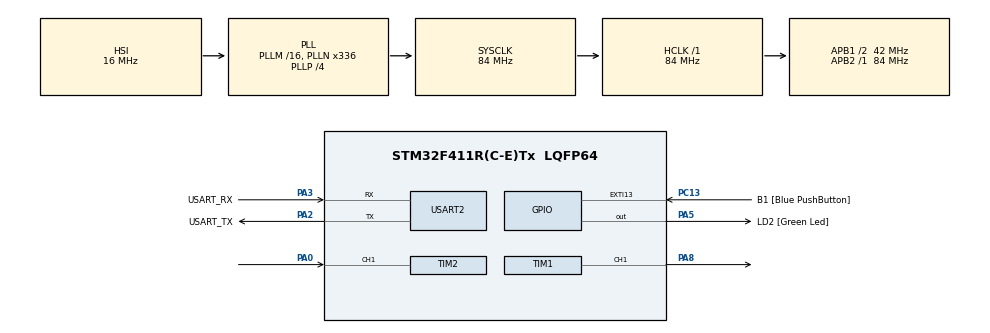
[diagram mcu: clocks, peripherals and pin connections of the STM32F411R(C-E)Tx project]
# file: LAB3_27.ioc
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Dma.Request0=TIM2_CH1
Dma.TIM2_CH1.0.Direction=DMA_PERIPH_TO_MEMORY
Dma.TIM2_CH1.0.FIFOMode=DMA_FIFOMODE_DISABLE
Dma.TIM2_CH1.0.Instance=DMA1_Stream5
Dma.TIM2_CH1.0.MemDataAlignment=DMA_MDATAALIGN_WORD
Dma.TIM2_CH1.0.MemInc=DMA_MINC_ENABLE
Dma.TIM2_CH1.0.Mode=DMA_CIRCULAR
Dma.TIM2_CH1.0.PeriphDataAlignment=DMA_PDATAALIGN_WORD
Dma.TIM2_CH1.0.PeriphInc=DMA_PINC_DISABLE
Dma.TIM2_CH1.0.Priority=DMA_PRIORITY_LOW
Mcu.Family=STM32F4
Mcu.Name=STM32F411R(C-E)Tx
Mcu.Package=LQFP64
NVIC.DMA1_Stream5_IRQn=true\:0\:0\:false\:false\:true\:false\:true\:true
NVIC.PriorityGroup=NVIC_PRIORITYGROUP_0
PA0-WKUP.Signal=S_TIM2_CH1_ETR
PA13.GPIO_Label=TMS
PA13.Mode=Serial_Wire
PA13.Signal=SYS_JTMS-SWDIO
PA14.GPIO_Label=TCK
PA14.Mode=Serial_Wire
PA14.Signal=SYS_JTCK-SWCLK
PA2.GPIO_Label=USART_TX
PA2.Mode=Asynchronous
PA2.Signal=USART2_TX
PA3.GPIO_Label=USART_RX
PA3.Mode=Asynchronous
PA3.Signal=USART2_RX
PA5.GPIO_Label=LD2 [Green Led]
PA5.Signal=GPIO_Output
PA8.Signal=S_TIM1_CH1
PB3.GPIO_Label=SWO
PB3.Signal=SYS_JTDO-SWO
PC13-ANTI_TAMP.GPIO_Label=B1 [Blue PushButton]
PC13-ANTI_TAMP.GPIO_ModeDefaultEXTI=GPIO_MODE_IT_FALLING
PC13-ANTI_TAMP.Signal=GPXTI13
PC14-OSC32_IN.Mode=LSE-External-Oscillator
PC14-OSC32_IN.Signal=RCC_OSC32_IN
PC15-OSC32_OUT.Mode=LSE-External-Oscillator
PC15-OSC32_OUT.Signal=RCC_OSC32_OUT
PH0\ -\ OSC_IN.Mode=HSE-External-Clock-Source
PH0\ -\ OSC_IN.Signal=RCC_OSC_IN
PH1\ -\ OSC_OUT.Mode=HSE-External-Clock-Source
PH1\ -\ OSC_OUT.Signal=RCC_OSC_OUT
ProjectManager.HeapSize=0x200
ProjectManager.StackSize=0x400
ProjectManager.TargetToolchain=STM32CubeIDE
RCC.48MHZClocksFreq_Value=84000000
RCC.AHBFreq_Value=84000000
RCC.APB1CLKDivider=RCC_HCLK_DIV2
RCC.APB1Freq_Value=42000000
RCC.APB1TimFreq_Value=84000000
RCC.APB2Freq_Value=84000000
RCC.APB2TimFreq_Value=84000000
RCC.CortexFreq_Value=84000000
RCC.FLatency-AdvancedSettings=FLASH_LATENCY_2
RCC.HCLKFreq_Value=84000000
RCC.HSE_VALUE=8000000
RCC.HSI_VALUE=16000000
RCC.PLLN=336
RCC.PLLP=RCC_PLLP_DIV4
RCC.SYSCLKFreq_VALUE=84000000
RCC.SYSCLKSource=RCC_SYSCLKSOURCE_PLLCLK
RCC.VCOOutputFreq_Value=336000000
SH.S_TIM1_CH1.0=TIM1_CH1,PWM Generation1 CH1
SH.S_TIM2_CH1_ETR.0=TIM2_CH1,Input_Capture1_from_TI1
TIM1.Channel-PWM\ Generation1\ CH1=TIM_CHANNEL_1
TIM1.Period=99
TIM1.Prescaler=83
TIM1.Pulse-PWM\ Generation1\ CH1=50
TIM2.Channel-Input_Capture1_from_TI1=TIM_CHANNEL_1
TIM2.Prescaler=83
USART2.VirtualMode=VM_ASYNC
VP_TIM1_VS_ClockSourceINT.Mode=Internal
VP_TIM2_VS_ClockSourceINT.Mode=Internal
board=NUCLEO-F411RE

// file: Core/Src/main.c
/* USER CODE BEGIN Header */
/**
  ******************************************************************************
  * @file           : main.c
  * @brief          : Main program body
  ******************************************************************************
  * @attention
  *
  * Copyright (c) 2023 STMicroelectronics.
  * All rights reserved.
  *
  * This software is licensed under terms that can be found in the LICENSE file
  * in the root directory of this software component.
  * If no LICENSE file comes with this software, it is provided AS-IS.
  *
  ******************************************************************************
  */
/* USER CODE END Header */
#include "main.h"

/* USER CODE BEGIN Includes */
#define IC_BUFFER_SIZE 20
/* USER CODE END Includes */

TIM_HandleTypeDef htim1;
TIM_HandleTypeDef htim2;
DMA_HandleTypeDef hdma_tim2_ch1;

UART_HandleTypeDef huart2;

/* USER CODE BEGIN PV */
uint32_t MotorReadRaw[IC_BUFFER_SIZE];
uint32_t MotorReadRPM;
uint32_t MotorSetDuty = 50;
uint32_t MotorSetRPM = 0;
uint32_t MotorControlEnable = 0;
uint32_t MotorReadAverage;
uint32_t RPMtoDUTY = 0;
uint32_t MaxRPM = 16;
/* USER CODE END PV */

void SystemClock_Config(void);
static void MX_GPIO_Init(void);
static void MX_DMA_Init(void);
static void MX_USART2_UART_Init(void);
static void MX_TIM1_Init(void);
static void MX_TIM2_Init(void);
/* USER CODE BEGIN PFP */
float IC_Calc_Period();
/* USER CODE END PFP */

int main(void)
{

  /* MCU Configuration--------------------------------------------------------*/

  /* Reset of all peripherals, Initializes the Flash interface and the Systick. */
  HAL_Init();

  /* Configure the system clock */
  SystemClock_Config();

  /* Initialize all configured peripherals */
  MX_GPIO_Init();
  MX_DMA_Init();
  MX_USART2_UART_Init();
  MX_TIM1_Init();
  MX_TIM2_Init();
  /* USER CODE BEGIN 2 */
  HAL_TIM_Base_Start(&htim2);
  HAL_TIM_IC_Start_DMA(&htim2, TIM_CHANNEL_1, MotorReadRaw, IC_BUFFER_SIZE);

  HAL_TIM_Base_Start(&htim1);
  HAL_TIM_PWM_Start(&htim1, TIM_CHANNEL_1);
  /* USER CODE END 2 */

  /* Infinite loop */
  while (1)
  {

    /* USER CODE BEGIN 3 */
	  static uint32_t timestamp = 0;
	  	  if (HAL_GetTick() >= timestamp)
	  	  {
	  		  timestamp = HAL_GetTick()+500;
	  		  //read RPM
			  MotorReadAverage = IC_Calc_Period();
			  MotorReadRPM = 5/((0.000064)*MotorReadAverage);
	  		  if (MotorControlEnable == 0) //change duty cycle
	  		  {
	  			  if (MotorSetDuty > 100)
	  			  {
	  				  MotorSetDuty = 100;
	  			  }
	  			  __HAL_TIM_SET_COMPARE(&htim1,TIM_CHANNEL_1,MotorSetDuty);
	  		  }
	  		  if (MotorControlEnable == 1) //change RPM
	  		  {
	  			  RPMtoDUTY = MotorSetRPM*(100/MaxRPM);
	  			  if (RPMtoDUTY > 100)
	  			  {
	  				  RPMtoDUTY = 100;
	  			  }
	  			  if (MotorSetRPM > 4)
	  			  {
	  				  RPMtoDUTY -= 10;
	  			  }
	  			  __HAL_TIM_SET_COMPARE(&htim1,TIM_CHANNEL_1,RPMtoDUTY);
	  		  }
	  	  }
  }
  /* USER CODE END 3 */
}

void SystemClock_Config(void)
{
  RCC_OscInitTypeDef RCC_OscInitStruct = {0};
  RCC_ClkInitTypeDef RCC_ClkInitStruct = {0};

  /** Configure the main internal regulator output voltage
  */
  __HAL_RCC_PWR_CLK_ENABLE();
  __HAL_PWR_VOLTAGESCALING_CONFIG(PWR_REGULATOR_VOLTAGE_SCALE1);

  /** Initializes the RCC Oscillators according to the specified parameters
  * in the RCC_OscInitTypeDef structure.
  */
  RCC_OscInitStruct.OscillatorType = RCC_OSCILLATORTYPE_HSI;
  RCC_OscInitStruct.HSIState = RCC_HSI_ON;
  RCC_OscInitStruct.HSICalibrationValue = RCC_HSICALIBRATION_DEFAULT;
  RCC_OscInitStruct.PLL.PLLState = RCC_PLL_ON;
  RCC_OscInitStruct.PLL.PLLSource = RCC_PLLSOURCE_HSI;
  RCC_OscInitStruct.PLL.PLLM = 16;
  RCC_OscInitStruct.PLL.PLLN = 336;
  RCC_OscInitStruct.PLL.PLLP = RCC_PLLP_DIV4;
  RCC_OscInitStruct.PLL.PLLQ = 4;
  if (HAL_RCC_OscConfig(&RCC_OscInitStruct) != HAL_OK)
  {
    Error_Handler();
  }

  /** Initializes the CPU, AHB and APB buses clocks
  */
  RCC_ClkInitStruct.ClockType = RCC_CLOCKTYPE_HCLK|RCC_CLOCKTYPE_SYSCLK
                              |RCC_CLOCKTYPE_PCLK1|RCC_CLOCKTYPE_PCLK2;
  RCC_ClkInitStruct.SYSCLKSource = RCC_SYSCLKSOURCE_PLLCLK;
  RCC_ClkInitStruct.AHBCLKDivider = RCC_SYSCLK_DIV1;
  RCC_ClkInitStruct.APB1CLKDivider = RCC_HCLK_DIV2;
  RCC_ClkInitStruct.APB2CLKDivider = RCC_HCLK_DIV1;

  if (HAL_RCC_ClockConfig(&RCC_ClkInitStruct, FLASH_LATENCY_2) != HAL_OK)
  {
    Error_Handler();
  }
}

static void MX_TIM1_Init(void)
{

  TIM_ClockConfigTypeDef sClockSourceConfig = {0};
  TIM_MasterConfigTypeDef sMasterConfig = {0};
  TIM_OC_InitTypeDef sConfigOC = {0};
  TIM_BreakDeadTimeConfigTypeDef sBreakDeadTimeConfig = {0};

  htim1.Instance = TIM1;
  htim1.Init.Prescaler = 83;
  htim1.Init.CounterMode = TIM_COUNTERMODE_UP;
  htim1.Init.Period = 99;
  htim1.Init.ClockDivision = TIM_CLOCKDIVISION_DIV1;
  htim1.Init.RepetitionCounter = 0;
  htim1.Init.AutoReloadPreload = TIM_AUTORELOAD_PRELOAD_DISABLE;
  if (HAL_TIM_Base_Init(&htim1) != HAL_OK)
  {
    Error_Handler();
  }
  sClockSourceConfig.ClockSource = TIM_CLOCKSOURCE_INTERNAL;
  if (HAL_TIM_ConfigClockSource(&htim1, &sClockSourceConfig) != HAL_OK)
  {
    Error_Handler();
  }
  if (HAL_TIM_PWM_Init(&htim1) != HAL_OK)
  {
    Error_Handler();
  }
  sMasterConfig.MasterOutputTrigger = TIM_TRGO_RESET;
  sMasterConfig.MasterSlaveMode = TIM_MASTERSLAVEMODE_DISABLE;
  if (HAL_TIMEx_MasterConfigSynchronization(&htim1, &sMasterConfig) != HAL_OK)
  {
    Error_Handler();
  }
  sConfigOC.OCMode = TIM_OCMODE_PWM1;
  sConfigOC.Pulse = 50;
  sConfigOC.OCPolarity = TIM_OCPOLARITY_HIGH;
  sConfigOC.OCNPolarity = TIM_OCNPOLARITY_HIGH;
  sConfigOC.OCFastMode = TIM_OCFAST_DISABLE;
  sConfigOC.OCIdleState = TIM_OCIDLESTATE_RESET;
  sConfigOC.OCNIdleState = TIM_OCNIDLESTATE_RESET;
  if (HAL_TIM_PWM_ConfigChannel(&htim1, &sConfigOC, TIM_CHANNEL_1) != HAL_OK)
  {
    Error_Handler();
  }
  sBreakDeadTimeConfig.OffStateRunMode = TIM_OSSR_DISABLE;
  sBreakDeadTimeConfig.OffStateIDLEMode = TIM_OSSI_DISABLE;
  sBreakDeadTimeConfig.LockLevel = TIM_LOCKLEVEL_OFF;
  sBreakDeadTimeConfig.DeadTime = 0;
  sBreakDeadTimeConfig.BreakState = TIM_BREAK_DISABLE;
  sBreakDeadTimeConfig.BreakPolarity = TIM_BREAKPOLARITY_HIGH;
  sBreakDeadTimeConfig.AutomaticOutput = TIM_AUTOMATICOUTPUT_DISABLE;
  if (HAL_TIMEx_ConfigBreakDeadTime(&htim1, &sBreakDeadTimeConfig) != HAL_OK)
  {
    Error_Handler();
  }
  HAL_TIM_MspPostInit(&htim1);

}

static void MX_TIM2_Init(void)
{

  TIM_ClockConfigTypeDef sClockSourceConfig = {0};
  TIM_MasterConfigTypeDef sMasterConfig = {0};
  TIM_IC_InitTypeDef sConfigIC = {0};

  htim2.Instance = TIM2;
  htim2.Init.Prescaler = 83;
  htim2.Init.CounterMode = TIM_COUNTERMODE_UP;
  htim2.Init.Period = 4294967295;
  htim2.Init.ClockDivision = TIM_CLOCKDIVISION_DIV1;
  htim2.Init.AutoReloadPreload = TIM_AUTORELOAD_PRELOAD_DISABLE;
  if (HAL_TIM_Base_Init(&htim2) != HAL_OK)
  {
    Error_Handler();
  }
  sClockSourceConfig.ClockSource = TIM_CLOCKSOURCE_INTERNAL;
  if (HAL_TIM_ConfigClockSource(&htim2, &sClockSourceConfig) != HAL_OK)
  {
    Error_Handler();
  }
  if (HAL_TIM_IC_Init(&htim2) != HAL_OK)
  {
    Error_Handler();
  }
  sMasterConfig.MasterOutputTrigger = TIM_TRGO_RESET;
  sMasterConfig.MasterSlaveMode = TIM_MASTERSLAVEMODE_DISABLE;
  if (HAL_TIMEx_MasterConfigSynchronization(&htim2, &sMasterConfig) != HAL_OK)
  {
    Error_Handler();
  }
  sConfigIC.ICPolarity = TIM_INPUTCHANNELPOLARITY_RISING;
  sConfigIC.ICSelection = TIM_ICSELECTION_DIRECTTI;
  sConfigIC.ICPrescaler = TIM_ICPSC_DIV1;
  sConfigIC.ICFilter = 0;
  if (HAL_TIM_IC_ConfigChannel(&htim2, &sConfigIC, TIM_CHANNEL_1) != HAL_OK)
  {
    Error_Handler();
  }

}

static void MX_USART2_UART_Init(void)
{

  huart2.Instance = USART2;
  huart2.Init.BaudRate = 115200;
  huart2.Init.WordLength = UART_WORDLENGTH_8B;
  huart2.Init.StopBits = UART_STOPBITS_1;
  huart2.Init.Parity = UART_PARITY_NONE;
  huart2.Init.Mode = UART_MODE_TX_RX;
  huart2.Init.HwFlowCtl = UART_HWCONTROL_NONE;
  huart2.Init.OverSampling = UART_OVERSAMPLING_16;
  if (HAL_UART_Init(&huart2) != HAL_OK)
  {
    Error_Handler();
  }

}

static void MX_DMA_Init(void)
{

  /* DMA controller clock enable */
  __HAL_RCC_DMA1_CLK_ENABLE();

  /* DMA interrupt init */
  /* DMA1_Stream5_IRQn interrupt configuration */
  HAL_NVIC_SetPriority(DMA1_Stream5_IRQn, 0, 0);
  HAL_NVIC_EnableIRQ(DMA1_Stream5_IRQn);

}

static void MX_GPIO_Init(void)
{
  GPIO_InitTypeDef GPIO_InitStruct = {0};

  /* GPIO Ports Clock Enable */
  __HAL_RCC_GPIOC_CLK_ENABLE();
  __HAL_RCC_GPIOH_CLK_ENABLE();
  __HAL_RCC_GPIOA_CLK_ENABLE();
  __HAL_RCC_GPIOB_CLK_ENABLE();

  /*Configure GPIO pin Output Level */
  HAL_GPIO_WritePin(LD2_GPIO_Port, LD2_Pin, GPIO_PIN_RESET);

  /*Configure GPIO pin : B1_Pin */
  GPIO_InitStruct.Pin = B1_Pin;
  GPIO_InitStruct.Mode = GPIO_MODE_IT_FALLING;
  GPIO_InitStruct.Pull = GPIO_NOPULL;
  HAL_GPIO_Init(B1_GPIO_Port, &GPIO_InitStruct);

  /*Configure GPIO pin : LD2_Pin */
  GPIO_InitStruct.Pin = LD2_Pin;
  GPIO_InitStruct.Mode = GPIO_MODE_OUTPUT_PP;
  GPIO_InitStruct.Pull = GPIO_NOPULL;
  GPIO_InitStruct.Speed = GPIO_SPEED_FREQ_LOW;
  HAL_GPIO_Init(LD2_GPIO_Port, &GPIO_InitStruct);

}

/* USER CODE BEGIN 4 */
float IC_Calc_Period()
{
	uint32_t currentDMAPointer = IC_BUFFER_SIZE - __HAL_DMA_GET_COUNTER((htim2.hdma[1]));
	uint32_t lastValidDMAPointer = (currentDMAPointer-1 + IC_BUFFER_SIZE) % IC_BUFFER_SIZE;
	uint32_t i = (lastValidDMAPointer + IC_BUFFER_SIZE - 5) % IC_BUFFER_SIZE;

	int32_t sumdiff = 0;
	while (i != lastValidDMAPointer)
	{
		uint32_t firstCapture = MotorReadRaw[i];
		uint32_t NextCapture = MotorReadRaw[(i+1)%IC_BUFFER_SIZE];
		sumdiff += NextCapture - firstCapture;
		i = (i+1) % IC_BUFFER_SIZE;
	}
	return sumdiff / 5.0;
}
/* USER CODE END 4 */

void Error_Handler(void)
{
  __disable_irq();
  while (1)
  {
  }
}
